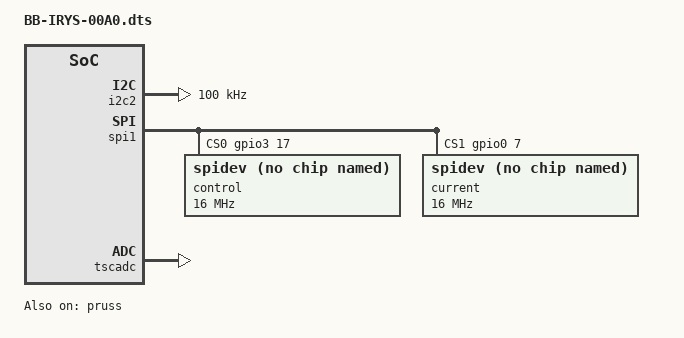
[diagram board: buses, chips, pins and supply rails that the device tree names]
/*
 * Copyright (C) 2013 Kamil Foryszewski 
 *
 * Cape for IRYS robot 
 *
 * This program is free software; you can redistribute it and/or modify
 * it under the terms of the GNU General Public License version 2 as
 * published by the Free Software Foundation.
 */

/dts-v1/;
/plugin/;

/ {
	compatible = "ti,beaglebone", "ti,beaglebone-black";

	/* identification */
	part-number = "BB-IRYS";
	version = "00A0";

	/* state the resources this cape uses */
	exclusive-use =
		/* the pin header uses */
		"P9.19",	/* i2c2_sda 		*/
		"P9.20",	/* i2c2_scl 		*/
		"P9.14", 	/* Motor Right Enable 	*/
		"P9.15", 	/* Motor Left Enable	*/
		"P9.28", 	/* SPI1_CS0 		*/
		"P9.29", 	/* SPI1_MISO   		*/
		"P9.30", 	/* SPI1_MOSI		*/
		"P9.31", 	/* SPI1_SCLK		*/
		"P9.36", 	/* AIN5        		*/
		"P9.38", 	/* AIN3        		*/
		"P9.40", 	/* AIN1        		*/
		"P8.39", 	/* Motor Left Direction	*/
		"P8.40", 	/* Motor Left Step	*/
		"P8.41", 	/* Motor Left M0	*/
		"P8.42", 	/* Motor Left M1	*/
		"P8.43", 	/* Motor Right Direction*/
		"P8.44", 	/* Motor Right Step	*/
		"P8.45", 	/* Motor Right M0	*/
		"P8.46", 	/* Motor Right M1	*/

		"P8.27", 	/* Sonar Trigger 	*/
		"P8.28", 	/* Sonar 1 Echo		*/
		"P8.29", 	/* Sonar 2 Echo		*/
		"P8.30", 	/* Sonar 3 Echo		*/


	fragment@0 {
		target = <&am33xx_pinmux>;
		__overlay__ {
			bb_i2c2_pins: pinmux_bb_i2c2_pins {
				pinctrl-single,pins = <
					0x178 0x73	/* i2c2_sda, SLEWCTRL_SLOW | INPUT_PULLUP | MODE3 */
					0x17c 0x73	/* i2c2_scl, SLEWCTRL_SLOW | INPUT_PULLUP | MODE3 */
				>;
			};

			bone_spi1_pins: pinmux_spi1_pins {
               			 pinctrl-single,pins = <
                    			0x190 0x13	/* P9_31 = mcasp0_aclkx.spi1_sclk				, OUTPUT_PULLUP | MODE3 */
                			0x194 0x33	/* P9_29 = mcasp0_fsx.spi1_d0					, INPUT_PULLUP  | MODE3 */
                    			0x198 0x13	/* P9_30 = mcasp0_axr0.spi1_d1					, OUTPUT_PULLUP | MODE3 */
                    			0x19c 0x13	/* P9_28 = mcasp0_ahclkr.spi1_cs0				, OUTPUT_PULLUP | MODE3 */					
                    			0x164 0x12  	/* P9_42 = GPIO0_7 =  eCAP0_in_PWM0_out.gpio0[7] 		, OUTPUT_PULLUP | MODE2 */
                		>;
            		};				

			gpio_pins: pinmux_gpio_pins{
				pinctrl-single,pins = <

					0x048 0x07 // P9_14 = Motor Right Enable  	= GPIO0_50
					0x040 0x07 // P9_15 = Motor Left Enable 	= GPIO1_48


				>;
			};

			pruicss_pins: pinmux_pruicss_pins{
				pinctrl-single,pins = <

				    	0x0B8 0x05 // P9_39 = Motor Left Direction 	= 6	
				    	0x0BC 0x05 // P9_40 = Motor Left Step	 	= 7
					0x0B0 0x05 // P9_41 = Motor Left M0	 	= 4
				    	0x0B4 0x05 // P9_42 = Motor Left M1	 	= 5
					0x0A8 0x05 // P9_43 = Motor Right Direction  	= 2
					0x0AC 0x05 // P9_44 = Motor Right Step	 	= 3
					0x0A0 0x05 // P9_45 = Motor Right M0  		= 0
					0x0A4 0x05 // P9_46 = Motor Right M1	  	= 1
					0x0E0 0x05 // P9_27 = Sonar Trigger	 	= 8
					0x0E8 0x26 // P9_28 = Sonar 1 Echo	  	= 10
					0x0E4 0x26 // P9_29 = Sonar 2 Echo	 	= 9
					0x0EC 0x26 // P9_30 = Sonar 3 Echo	  	= 11


				>;
			};
		};
	};

	fragment@1 {
		target = <&i2c2>;
		__overlay__ {
			status = "okay";
			pinctrl-names = "default";
			pinctrl-0 = <&bb_i2c2_pins>;

			/* this is the configuration part */
			clock-frequency = <100000>;

			#address-cells = <1>;
			#size-cells = <0>;

			/* add any i2c devices on the bus here */

		};
	};

	fragment@2 {
		target = <&spi1>;
		__overlay__ {
		    #address-cells 	= <1>;
		    #size-cells 	= <0>;
		    status			= "okay";
		    pinctrl-names	= "default";
		    pinctrl-0		= <&bone_spi1_pins>;	
		    cs-gpios 		= <&gpio3 17 0>, <&gpio0 7 0>;

		    control{
		        #address-cells 	  = <1>;
		        #size-cells 	  = <0>;
		        compatible 		  = "spidev";
		        reg 			  = <0>;
		        spi-max-frequency = <16000000>;
		        spi-cpha;		  //control has mode 1 (CPOL = 0, CPHA = 1)
		    };

		    current{
		        #address-cells 	  = <1>;
		        #size-cells 	  = <0>;
		        compatible 		  = "spidev";
		        reg 			  = <1>;
		        spi-max-frequency = <16000000>;
		           				  //current has mode 0 (CPOL = 0, CPHA = 0)
		    };
		};
	};

	fragment@3{  
    		target = <&pruss>;  
    		__overlay__ {  
      			status = "okay";  
      			pinctrl-names = "default";  
      			pinctrl-0 = <&pruicss_pins>;  
    		};  
   	};

	fragment@4 {
		target = <&tscadc>;
		__overlay__ {			
		    status = "okay";
		    	adc {
		        	ti,adc-channels = <1 3 5>;
		    	};
		};
	};
};
